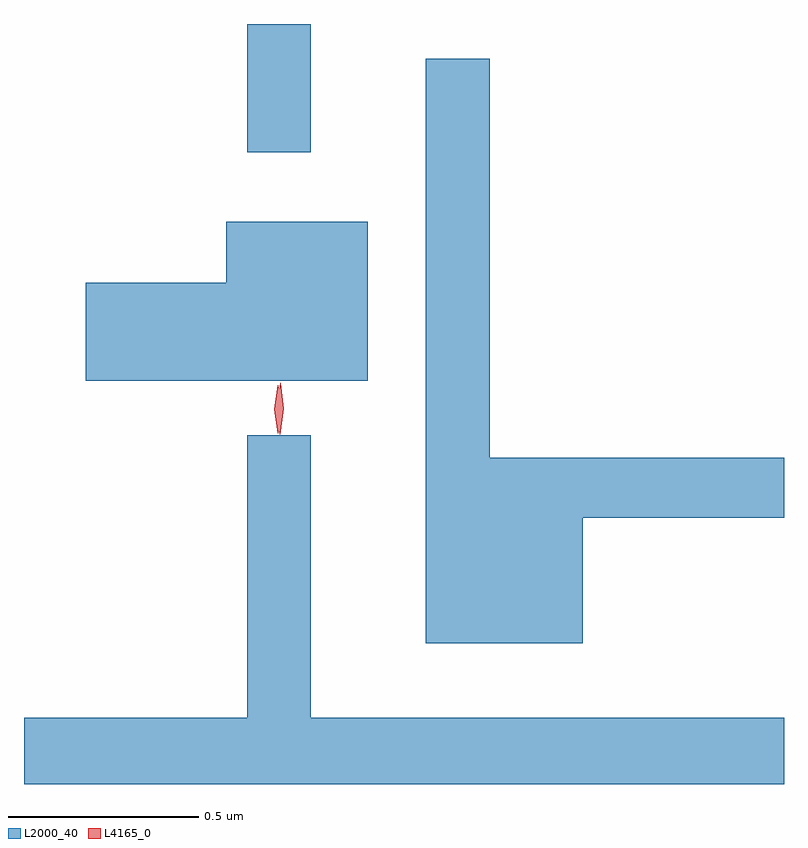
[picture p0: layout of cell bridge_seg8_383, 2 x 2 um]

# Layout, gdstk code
import gdstk
lib = gdstk.Library(unit=1e-6, precision=1e-09)
def R(c, l, rs):  # rectangles x0, y0, x1, y1
    for r in rs: c.add(gdstk.rectangle(r[:2], r[2:], *l))
def P(c, l, *ps):  # polygons
    for p in ps: c.add(gdstk.Polygon(p, *l))
L2000_40 = (2000, 40)
L4165_0 = (4165, 0)

bridge_seg8_383 = lib.new_cell('bridge_seg8_383')
R(bridge_seg8_383, L2000_40, [(711.151,1938.073,711.319,1938.41)])
P(bridge_seg8_383, L2000_40, [(712.034,1937.111),(712.564,1937.111),(712.564,1937.269),(711.789,1937.269),(711.789,1938.318),(711.621,1938.318),(711.621,1936.781),(712.034,1936.781)],
  [(711.469,1937.889),(711.096,1937.889),(711.096,1937.729),(710.726,1937.729),(710.726,1937.471),(711.469,1937.471)],
  [(712.564,1936.584),(711.319,1936.584),(711.319,1937.328),(711.151,1937.328),(711.151,1936.584),(710.564,1936.584),(710.564,1936.41),(712.564,1936.41)])
P(bridge_seg8_383, L4165_0, [(711.232,1937.333),(711.232,1937.333),(711.222,1937.396),(711.232,1937.459),(711.232,1937.46),(711.233,1937.459),(711.242,1937.396),(711.233,1937.333)],
  [(711.237,1937.33),(711.228,1937.398),(711.238,1937.465),(711.239,1937.466),(711.239,1937.465),(711.248,1937.398),(711.238,1937.33),(711.238,1937.33)])

lib.write_gds('bridge_seg8_383.gds')
